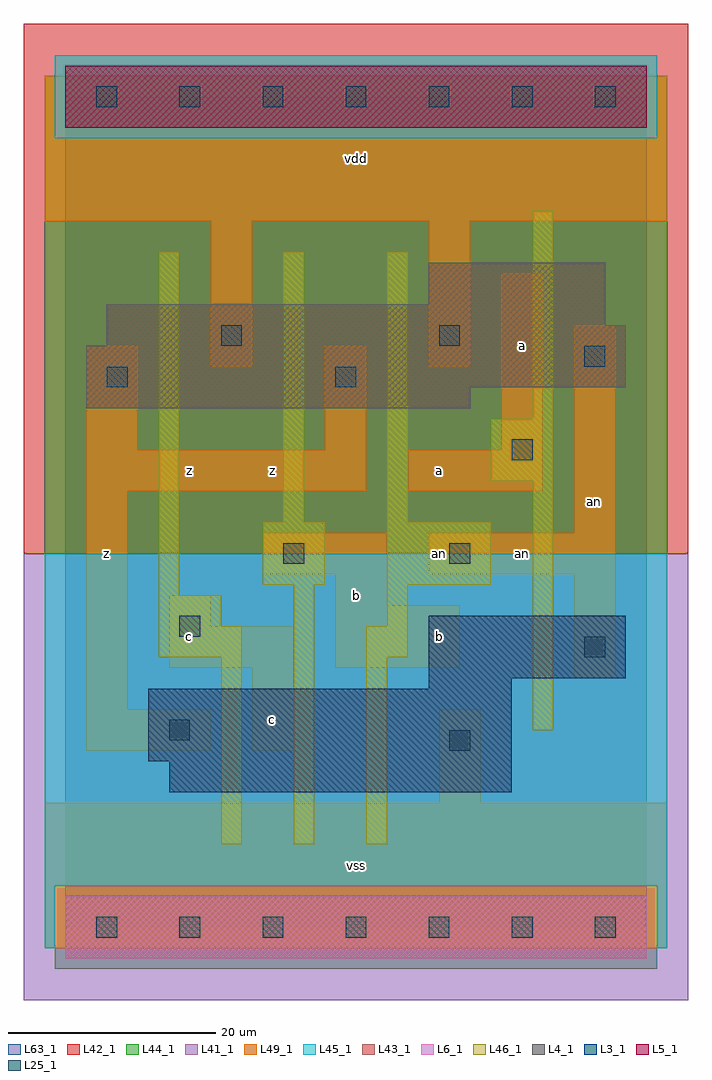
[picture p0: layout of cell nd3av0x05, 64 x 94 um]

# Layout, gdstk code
import gdstk
lib = gdstk.Library(unit=1e-6, precision=1e-09)
def R(c, l, rs):  # rectangles x0, y0, x1, y1
    for r in rs: c.add(gdstk.rectangle(r[:2], r[2:], *l))
def A(c, l, x, y, w, h, nx, ny, dx, dy):  # array of equal rectangles
    R(c, l, [(x+i*dx, y+j*dy, x+i*dx+w, y+j*dy+h) for i in range(nx) for j in range(ny)])
L3_1 = (3, 1)
L4_1 = (4, 1)
L5_1 = (5, 1)
L6_1 = (6, 1)
L25_1 = (25, 1)
L41_1 = (41, 1)
L42_1 = (42, 1)
L43_1 = (43, 1)
L44_1 = (44, 1)
L45_1 = (45, 1)
L46_1 = (46, 1)
L49_1 = (49, 1)
L63_1 = (63, 1)

nd3av0x05 = lib.new_cell('nd3av0x05')
R(nd3av0x05, L3_1, [(10,13,43,16), (8,16,43,23), (35,23,43,24), (35,24,54,30)])
R(nd3av0x05, L4_1, [(2,50,39,52), (2,52,54,56), (4,56,54,58), (4,58,52,60), (35,60,52,64)])
R(nd3av0x05, L5_1, [(0,77,56,83)])
R(nd3av0x05, L6_1, [(0,-3,56,3), (0,-3,56,3)])
A(nd3av0x05, L25_1, 3, -1, 2, 2, 7, 2, 8, 80)
R(nd3av0x05, L25_1, [(37,17,39,19), (10,18,12,20), (50,26,52,28), (11,28,13,30), (21,35,23,37), (37,35,39,37), (43,45,45,47), (4,52,6,54), (26,52,28,54), (50,54,52,56), (15,56,17,58), (36,56,38,58)])
R(nd3av0x05, L41_1, [(-4,-7,60,36)])
R(nd3av0x05, L42_1, [(-4,36,60,87)])
R(nd3av0x05, L43_1, [(0,-3,56,3), (10,13,43,16), (8,16,43,23), (35,23,43,24), (35,24,54,30), (2,50,39,52), (2,52,54,56), (4,56,54,58), (4,58,52,60), (35,60,52,64), (0,77,56,83)])
R(nd3av0x05, L44_1, [(-1,-4,57,4), (-2,36,58,76), (-2,76,-1,82), (57,76,58,82)])
R(nd3av0x05, L45_1, [(-2,-2,-1,4), (57,-2,58,4), (-2,4,58,36), (-1,76,57,84)])
R(nd3av0x05, L46_1, [(15,8,17,26), (22,8,24,33), (29,8,31,26), (45,19,47,43), (9,26,17,29), (29,26,33,29), (9,29,15,32), (31,29,33,33), (9,32,11,65), (19,33,25,39), (31,33,41,39), (21,39,23,65), (31,39,33,65), (41,43,47,49), (45,49,47,69)])
R(nd3av0x05, L49_1, [(-2,-2,58,12), (36,12,40,21), (2,17,14,21), (18,17,22,25), (2,21,6,42), (49,24,53,34), (10,25,22,29), (26,25,38,31), (10,29,14,32), (26,31,31,34), (19,34,31,38), (35,34,53,38), (49,38,53,58), (2,42,29,46), (33,42,46,46), (2,46,7,56), (25,46,29,56), (42,46,46,63), (14,54,18,68), (35,54,39,68), (-2,68,58,82)])
R(nd3av0x05, L63_1, [(0,0,56,80)])
nd3av0x05.add(gdstk.Label('an', (36,36), layer=46, texttype=1))
nd3av0x05.add(gdstk.Label('z', (4,36), layer=49, texttype=1))
nd3av0x05.add(gdstk.Label('c', (20,20), layer=49, texttype=1))
nd3av0x05.add(gdstk.Label('c', (12,28), layer=49, texttype=1))
nd3av0x05.add(gdstk.Label('z', (20,44), layer=49, texttype=1))
nd3av0x05.add(gdstk.Label('z', (12,44), layer=49, texttype=1))
nd3av0x05.add(gdstk.Label('vss', (28,6), layer=49, texttype=1))
nd3av0x05.add(gdstk.Label('b', (28,32), layer=49, texttype=1))
nd3av0x05.add(gdstk.Label('b', (36,28), layer=49, texttype=1))
nd3av0x05.add(gdstk.Label('a', (36,44), layer=49, texttype=1))
nd3av0x05.add(gdstk.Label('vdd', (28,74), layer=49, texttype=1))
nd3av0x05.add(gdstk.Label('an', (44,36), layer=49, texttype=1))
nd3av0x05.add(gdstk.Label('an', (51,41), layer=49, texttype=1))
nd3av0x05.add(gdstk.Label('a', (44,56), layer=49, texttype=1))

lib.write_gds('nd3av0x05.gds')
